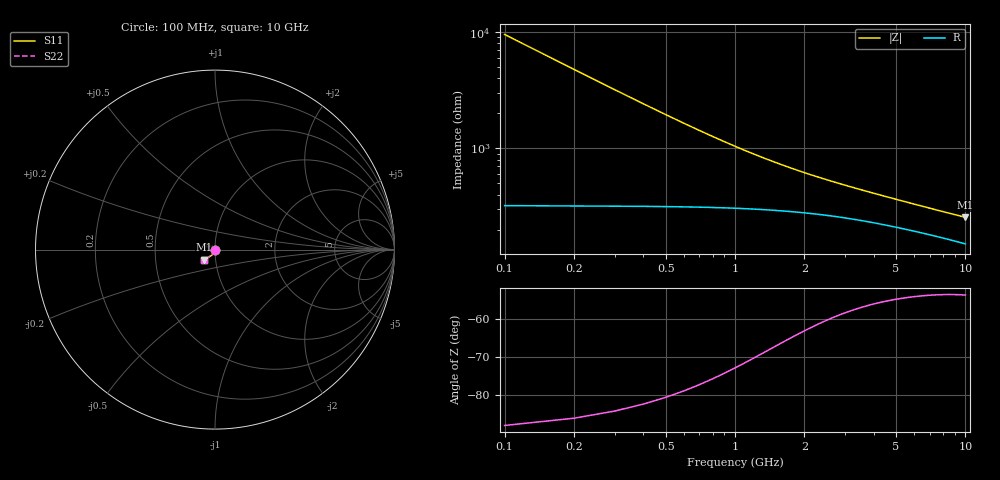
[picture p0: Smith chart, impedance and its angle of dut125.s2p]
! Touchstone file exported from HFSS 2024.1.0
!  File:  C:/UserFiles/LocalFiles/RDL_TSV_Batchsim/temp_TSV1_125_1778753556.aedt
!  Generated:  06:16:48 PM May 14, 2026
!  Design:  TSV1
!  Project:  temp_TSV1_125_1778753556
!  Setup:  Setup1
!  Solution:  Sweep
! Variables:
!  dtsv = 24.84um
!  hbump = 3um
!  htsv = 55.11um
!  lrdl = 252.1521522um
!  p = 40
!  p1 = 55.81um
!  t = 500um
!  trdl = 3um
!  wrdl = 24.89489489um
# GHz S MA R 50.000000
! Terminal data exported
! Port[1] = TSV22_T1
! Port[2] = TSV22_T2
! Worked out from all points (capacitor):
!   100 points, 100 MHz to 10 GHz, reference 50 ohm
!   read as one part in shunt: C = 167 fF near 100 MHz
!   lowest |Z| = 256 ohm at 10 GHz (marker M1)
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0.1  0.002413 -90.6  0.9998 -0.2  0.9998 -0.2  0.002413 -90.6
! Gamma 0 0 0 0
! Port Impedance 50 0 50 0
0.2  0.00481 -93.4  0.9995 -0.3  0.9995 -0.3  0.00481 -93.4
0.3  0.007177 -95.7  0.9991 -0.5  0.9991 -0.5  0.007177 -95.7
0.4  0.009502 -97.9  0.9984 -0.6  0.9984 -0.6  0.009502 -97.9
0.5  0.01177 -99.9  0.9977 -0.8  0.9977 -0.8  0.01177 -99.9
0.6  0.01398 -101.9  0.9968 -0.9  0.9968 -0.9  0.01398 -101.9
0.7  0.01611 -103.8  0.9958 -1.0  0.9958 -1.0  0.01611 -103.8
0.8  0.01817 -105.5  0.9947 -1.2  0.9947 -1.2  0.01817 -105.5
0.9  0.02014 -107.3  0.9936 -1.3  0.9936 -1.3  0.02014 -107.3
1.1  0.02383 -110.4  0.9913 -1.5  0.9913 -1.5  0.02383 -110.4
1.4  0.02874 -114.5  0.9877 -1.8  0.9877 -1.8  0.02874 -114.5
1.6  0.03163 -116.8  0.9855 -1.9  0.9855 -1.9  0.03163 -116.8
1.8  0.03426 -118.8  0.9833 -2.1  0.9833 -2.1  0.03426 -118.8
2.1  0.03779 -121.4  0.9802 -2.3  0.9802 -2.3  0.03779 -121.4
2.5  0.04186 -124.1  0.9765 -2.5  0.9765 -2.5  0.04186 -124.1
2.9  0.04542 -126.2  0.9732 -2.7  0.9732 -2.7  0.04542 -126.2
3.4  0.04934 -128.2  0.9696 -2.9  0.9696 -2.9  0.04934 -128.2
4.2  0.0548 -130.5  0.9647 -3.2  0.9647 -3.2  0.0548 -130.5
5.1  0.06011 -132.3  0.96 -3.6  0.96 -3.6  0.06011 -132.3
6.7  0.06811 -134.4  0.9531 -4.1  0.9531 -4.1  0.06811 -134.4
8.4  0.07519 -135.8  0.9473 -4.7  0.9473 -4.7  0.07519 -135.8
10  0.08095 -136.6  0.9427 -5.1  0.9427 -5.1  0.08095 -136.6
